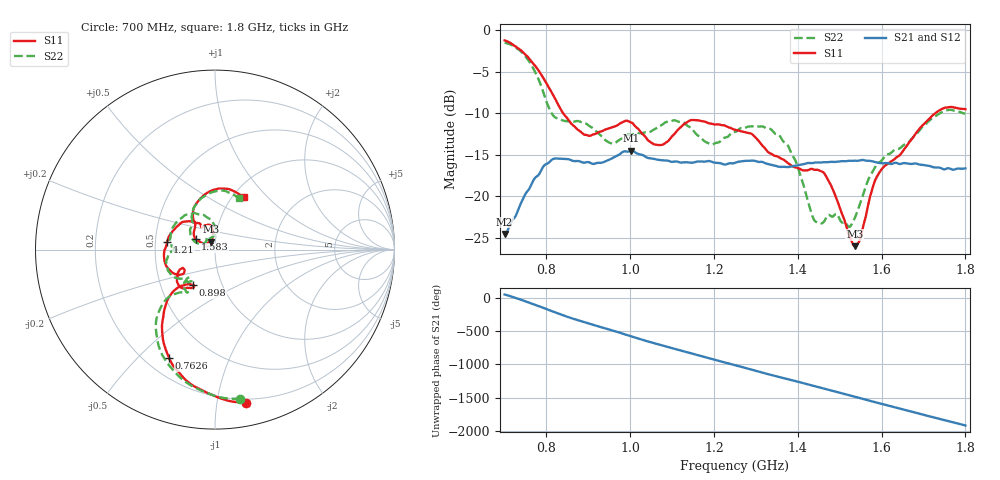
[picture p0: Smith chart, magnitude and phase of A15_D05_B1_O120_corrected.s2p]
! Created with skrf 1.9.0 (http://scikit-rf.org).
# Hz S RI R 50.0
!freq ReS11 ImS11 ReS21 ImS21 ReS12 ImS12 ReS22 ImS22
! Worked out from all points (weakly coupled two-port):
!   1601 points, 700 MHz to 1.8 GHz, reference 50 ohm
!   highest |S21| = -14.51 dB at 1.002 GHz (marker M1); lowest = -24.5 dB at 700 MHz (marker M2)
!   lowest |S11| = -26.0 dB at 1.536 GHz (marker M3), VSWR 1.11, Z = 47.5 + j4.22 ohm
!   |S11| at or under -10 dB: 839.9 MHz to 1.728 GHz (887.9 MHz wide, 69.2 % of centre)
!   |S22| runs from -23.7 to -1.5 dB; largest |S21 - S12| = 0.0035
!   S11 on the Smith chart (normalised r, x): 700 MHz: 0.17, -1.21; 762.6 MHz: 0.29, -0.62; 898 MHz: 0.73, -0.30; 1.21 GHz: 0.58, +0.05; 1.583 GHz: 0.80, +0.09; 1.8 GHz: 1.12, +0.74
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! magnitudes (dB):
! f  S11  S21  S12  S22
! 700 MHz  -1.2  -24.5  -24.3  -1.5
! 762.6 MHz  -3.7  -18.7  -18.7  -4.1
! 816.9 MHz  -7.9  -15.5  -15.6  -10.3
! 883.6 MHz  -12.3  -15.9  -15.8  -11.1
! 898 MHz  -12.7  -15.9  -15.9  -11.4
! 954.4 MHz  -11.7  -15.5  -15.5  -13.6
! 1.002 GHz  -11.1  -14.5  -14.6  -12.6
! 1.067 GHz  -13.8  -15.6  -15.6  -11.7
! 1.143 GHz  -10.8  -16.0  -15.9  -11.7
! 1.21 GHz  -11.3  -16.0  -16.0  -13.5
! 1.25 GHz  -12.0  -16.0  -15.9  -12.2
! 1.357 GHz  -15.4  -16.5  -16.4  -12.7
! 1.395 GHz  -16.5  -16.3  -16.3  -15.8
! 1.434 GHz  -16.7  -16.0  -16.0  -22.2
! 1.471 GHz  -17.9  -15.9  -15.9  -22.3
! 1.522 GHz  -24.7  -15.7  -15.7  -23.7
! 1.536 GHz  -26.0  -15.7  -15.7  -22.6
! 1.549 GHz  -25.1  -15.7  -15.7  -20.8
! 1.583 GHz  -18.2  -15.9  -15.9  -16.6
! 1.617 GHz  -16.0  -16.0  -16.0  -14.9
! 1.733 GHz  -9.8  -16.5  -16.6  -10.2
! 1.8 GHz  -9.5  -16.6  -16.6  -10.0
